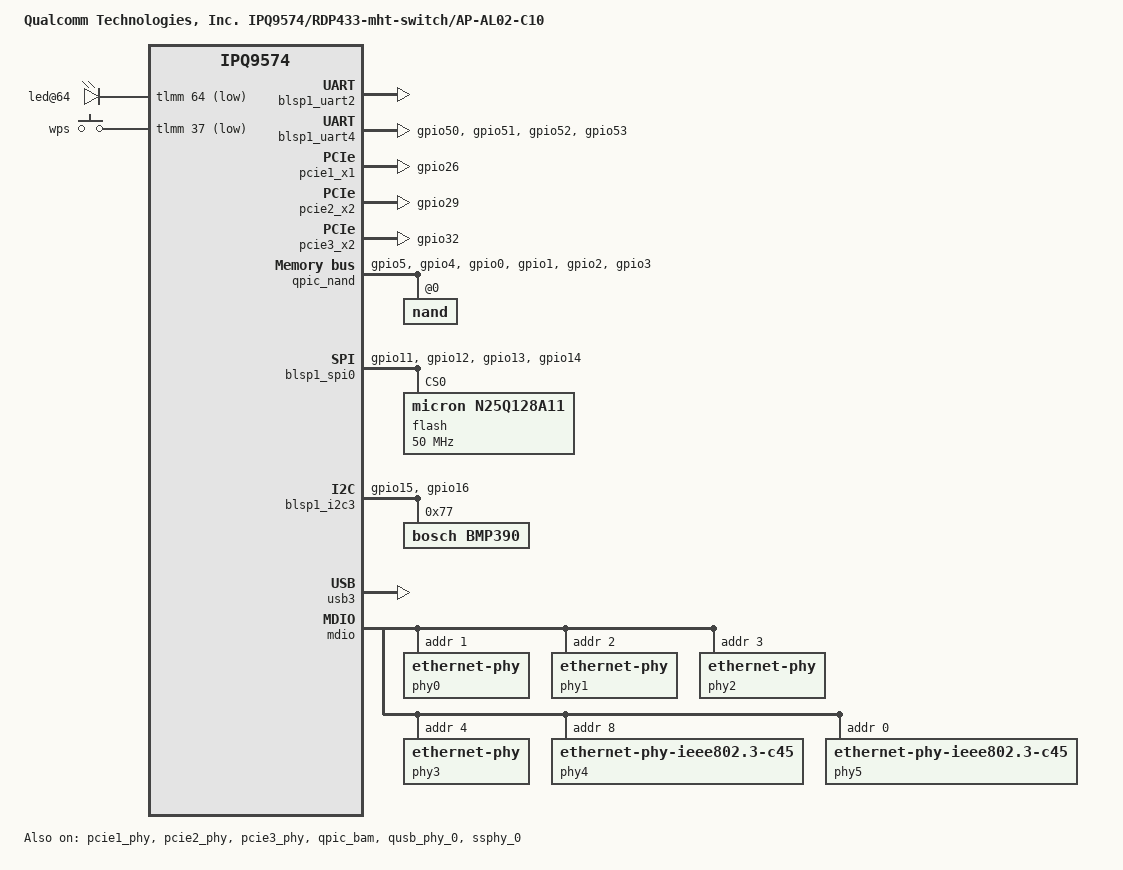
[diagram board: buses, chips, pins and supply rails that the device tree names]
// SPDX-License-Identifier: (GPL-2.0+ OR BSD-3-Clause)
/*
 * IPQ9574 RDP433-mht-switch board device tree source
 *
 * Copyright (c) 2020-2021 The Linux Foundation. All rights reserved.
 * Copyright (c) 2022-2023 Qualcomm Innovation Center, Inc. All rights reserved.
 */

/dts-v1/;

#include <dt-bindings/gpio/gpio.h>
#include <dt-bindings/input/input.h>
#include "ipq9574-qcn9224-default-memory.dtsi"
#include "ipq9574.dtsi"

/ {
	model = "Qualcomm Technologies, Inc. IPQ9574/RDP433-mht-switch/AP-AL02-C10";
	compatible = "qcom,ipq9574-ap-al02-c10", "qcom,ipq9574-rdp433-mht-switch", "qcom,ipq9574";

	aliases {
		serial0 = &blsp1_uart2;
		serial1 = &blsp1_uart4;
	};

	chosen {
		stdout-path = "serial0:115200n8";
	};

	soc@0 {
		leds {
			compatible = "gpio-leds";
			pinctrl-0 = <&leds_pins>;
			pinctrl-names = "default";
			led@64 {
				gpios = <&tlmm 64 GPIO_ACTIVE_LOW>;
				linux,default-trigger = "led_2g";
				default-state = "off";
			};
		};

		gpio_keys {
			compatible = "gpio-keys";
			pinctrl-0 = <&button_pins>;
			pinctrl-names = "default";
			status = "okay";

			button@1 {
				label = "wps";
				linux,code = <KEY_WPS_BUTTON>;
				gpios = <&tlmm 37 GPIO_ACTIVE_LOW>;
				linux,input-type = <1>;
				debounce-interval = <60>;
			};
		};
	};
};

&blsp1_uart2 {
	pinctrl-0 = <&uart2_pins>;
	pinctrl-names = "default";
	status = "okay";
};

&blsp1_uart4 {
	pinctrl-0 = <&uart4_pins>;
	pinctrl-names = "default";
	status = "okay";
};

&pcie1_phy {
	status = "okay";
};

&pcie1_x1 {
	pinctrl-0 = <&pci1_pin>;
	pinctrl-names = "default";
	perst-gpios = <&tlmm 26 GPIO_ACTIVE_LOW>;
	status = "okay";
};

&pcie2_phy {
	status = "okay";
};

&pcie2_x2 {
	pinctrl-0 = <&pci2_pin>;
	pinctrl-names = "default";
	perst-gpio = <&tlmm 29 GPIO_ACTIVE_LOW>;
	status = "okay";

	pcie2_rp {
		reg = <0 0 0 0 0>;
	};
};

&pcie3_phy {
	status = "okay";
};

&pcie3_x2 {
	pinctrl-0 = <&pci3_pin>;
	pinctrl-names = "default";
	perst-gpios = <&tlmm 32 GPIO_ACTIVE_LOW>;
	status = "okay";

	pcie3_rp {
		reg = <0 0 0 0 0>;
	};
};

&qpic_bam {
	status = "okay";
};

&qpic_nand {
	status = "okay";
	pinctrl-0 = <&qspi_nand_pins>;
	pinctrl-names = "default";
	qcom,io_macro_max_clk = <320000000>;
	qcom,io_macro_clk_rates = <24000000 100000000 200000000 \
				   320000000>;
	nand@0 {
		reg = <0>;
		#address-cells = <1>;
		#size-cells = <1>;
		nand-ecc-strength = <4>;
		nand-ecc-step-size = <512>;
		nand-bus-width = <8>;
	};
};

&qusb_phy_0 {
	status = "okay";
};

&blsp1_spi0 {
	pinctrl-0 = <&spi_0_pins>;
	pinctrl-names = "default";
	status = "okay";

	flash@0 {
		compatible = "micron,n25q128a11", "jedec,spi-nor";
		reg = <0>;
		#address-cells = <1>;
		#size-cells = <1>;
		spi-max-frequency = <50000000>;
	};
};

&sdhc_1 {
	pinctrl-0 = <&sdc_default_state>;
	pinctrl-names = "default";
	mmc-ddr-1_8v;
	mmc-hs200-1_8v;
	mmc-hs400-1_8v;
	mmc-hs400-enhanced-strobe;
	max-frequency = <384000000>;
	bus-width = <8>;
	status = "disabled";
};

&blsp1_i2c3 {
	pinctrl-0 = <&i2c_3_pins>;
	pinctrl-names = "default";
	status = "okay";

	bmp390@77 {
		compatible = "bosch,bmp390";
		reg = <0x77>;
	};
};

&sleep_clk {
	clock-frequency = <32000>;
};

&ssphy_0 {
	status = "okay";
};

&rpm_requests {
	regulators {
		compatible = "qcom,rpm-mp5496-regulators";

		ipq9574_s1: s1 {
		/*
		 * During kernel bootup, the SoC runs at 800MHz with 875mV set by the bootloaders.
		 * During regulator registration, kernel not knowing the initial voltage,
		 * considers it as zero and brings up the regulators with minimum supported voltage.
		 * Updating the regulator-min-microvolt with SVS voltage of 725000uV so that
		 * the regulators are brought up with 725000uV which is sufficient for all the
		 * corner parts to operate at 800MHz
		 */
			regulator-min-microvolt = <725000>;
			regulator-max-microvolt = <1075000>;
		};
	};
};

&tlmm {
	pci1_pin: pci1-default-state {
		pins = "gpio26";
		function = "gpio";
		drive-strength = <8>;
		bias-pull-down;
		output-low;
	};

	pci2_pin: pci2-default-state {
		pins = "gpio29";
		function = "gpio";
		drive-strength = <8>;
		bias-pull-down;
		output-low;
	};

	pci3_pin: pci3-default-state {
		pins = "gpio32";
		function = "gpio";
		drive-strength = <8>;
		bias-pull-up;
		output-low;
	};

	qspi_nand_pins: qspi_nand_pins {
		qspi_clock {
			pins = "gpio5";
			function = "qspi_clk";
			drive-strength = <8>;
			bias-disable;
		};

		qspi_cs {
			pins = "gpio4";
			function = "qspi_cs";
			drive-strength = <8>;
			bias-disable;
		};

		qspi_data {
			pins = "gpio0", "gpio1", "gpio2", "gpio3";
			function = "qspi_data";
			drive-strength = <8>;
			bias-disable;
		};
	};

	i2c_3_pins: i2c-3-pins {
		pins = "gpio15", "gpio16";
		function = "blsp3_i2c";
		drive-strength = <8>;
		bias-disable;
	};

	button_pins: button-state {
		pins = "gpio37";
		function = "gpio";
		drive-strength = <8>;
		bias-pull-up;
	};

	uart4_pins: uart4-pins {
		pins = "gpio50", "gpio51", "gpio52", "gpio53";
		function = "blsp4_uart";
		drive-strength = <8>;
		bias-disable;
	};

	leds_pins: leds_state {
		pins = "gpio64";
		function = "gpio";
		drive-strength = <8>;
		bias-pull-up;
	};

	sdc_default_state: sdc-default-state {
		clk-pins {
			pins = "gpio5";
			function = "sdc_clk";
			drive-strength = <8>;
			bias-disable;
		};

		cmd-pins {
			pins = "gpio4";
			function = "sdc_cmd";
			drive-strength = <8>;
			bias-pull-up;
		};

		data-pins {
			pins = "gpio0", "gpio1", "gpio2",
			       "gpio3", "gpio6", "gpio7",
			       "gpio8", "gpio9";
			function = "sdc_data";
			drive-strength = <8>;
			bias-pull-up;
		};

		rclk-pins {
			pins = "gpio10";
			function = "sdc_rclk";
			drive-strength = <8>;
			bias-pull-down;
		};
	};

	spi_0_pins: spi-0-state {
		pins = "gpio11", "gpio12", "gpio13", "gpio14";
		function = "blsp0_spi";
		drive-strength = <8>;
		bias-disable;
	};

};

&usb3 {
	status = "okay";
};

&xo_board_clk {
	clock-frequency = <24000000>;
};

&mdio {
	status = "ok";
	pinctrl-0 = <&mdio_pins>;
	pinctrl-names = "default";
	/*gpio60 for manhattan reset*/
	phy-reset-gpio = <&tlmm 60 GPIO_ACTIVE_LOW>;
	phyaddr_fixup = <0xC90F018>;
	uniphyaddr_fixup = <0xC90F014>;
	mdio_clk_fixup; /* MDIO clock sequence fix up flag */

	phy0: ethernet-phy@0 {
		      reg = <1>;
		      fixup;
	      };
	phy1: ethernet-phy@1 {
		      reg = <2>;
		      fixup;
	      };
	phy2: ethernet-phy@2 {
		      reg = <3>;
		      fixup;
	      };
	phy3: ethernet-phy@3 {
		      reg = <4>;
		      fixup;
	      };
	phy4: ethernet-phy@4 {
		      compatible ="ethernet-phy-ieee802.3-c45";
		      reg = <8>;
	      };
	phy5: ethernet-phy@5 {
		      compatible ="ethernet-phy-ieee802.3-c45";
		      reg = <0>;
	      };
};

&ess_switch {
	num_devices = <0x2>;
	ess-switch@3a000000 {
		switch_cpu_bmp = <0x1>;  /* cpu port bitmap */
		switch_lan_bmp = <0x22>; /* lan port bitmap */
		switch_wan_bmp = <0x40>; /* wan port bitmap */
		switch_mac_mode = <0xc>; /* mac mode for uniphy instance0*/
		switch_mac_mode1 = <0xd>; /* mac mode for uniphy instance1*/
		switch_mac_mode2 = <0xd>; /* mac mode for uniphy instance2*/
		bm_tick_mode = <0>; /* bm tick mode */
		tm_tick_mode = <0>; /* tm tick mode */
		qcom,port_phyinfo {
			port@0 {
				port_id = <1>;
				forced-speed = <1000>;
				forced-duplex = <1>;
				port_mac_sel = "QGMAC_PORT";
			};
			port@4 {
				port_id = <5>;
				phy_address = <8>;
				ethernet-phy-ieee802.3-c45;
			};
			port@5 {
				port_id = <6>;
				phy_address = <0>;
				ethernet-phy-ieee802.3-c45;
			};
		};

	};

	ess-switch1@0xc000000 {
		compatible = "qcom,ess-switch-qca8386";
		device_id = <1>;
		switch_access_mode = "mdio";
		mdio-bus = <&mdio>;
		switch_mac_mode = <0xc>; /* mac mode for uniphy instance0 */
		switch_mac_mode1 = <0xff>; /* mac mode1 for uniphy instance1 */
		switch_cpu_bmp = <0x1>;  /* cpu port bitmap */
		switch_lan_bmp = <0x1e>; /* lan port bitmap */
		switch_wan_bmp = <0x0>;  /* wan port bitmap */
		link-polling-required = <0>;
		link-intr-gpio = <&tlmm 0x2f 0>;
		qcom,port_phyinfo {
			port@0 {
				port_id = <0>;
				forced-speed = <2500>;
				forced-duplex = <1>;
			};
			port@1 {
				port_id = <1>;
				phy_address = <1>;
			};
			port@2 {
				port_id = <2>;
				phy_address = <2>;
			};
			port@3 {
				port_id = <3>;
				phy_address = <3>;
			};
			port@4 {
				port_id = <4>;
				phy_address = <4>;
			};
		};

		led_source@0 {
			source = <0>;
			mode = "normal";
			speed = "all";
			blink_en = "enable";
			active = "high";
		};
		led_source@3 {
			source = <3>;
			mode = "normal";
			speed = "all";
			blink_en = "enable";
			active = "high";
		};
		led_source@6 {
			source = <6>;
			mode = "normal";
			speed = "all";
			blink_en = "enable";
			active = "high";
		};
		led_source@9 {
			source = <9>;
			mode = "normal";
			speed = "all";
			blink_en = "enable";
			active = "high";
		};
	};
};
